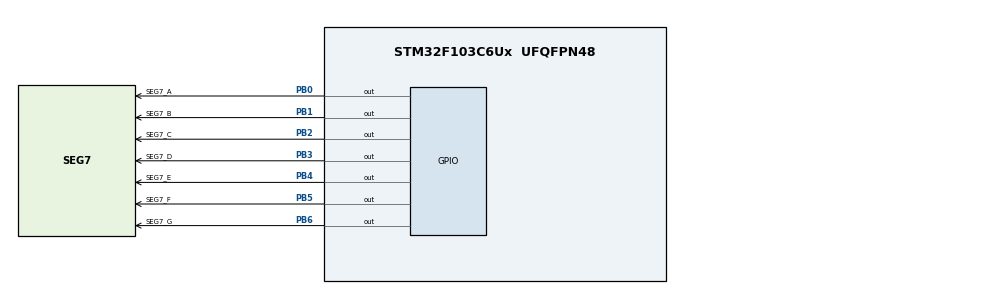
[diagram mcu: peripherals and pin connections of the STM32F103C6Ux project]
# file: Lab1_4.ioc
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Mcu.Family=STM32F1
Mcu.Name=STM32F103C6Ux
Mcu.Package=UFQFPN48
NVIC.PriorityGroup=NVIC_PRIORITYGROUP_4
PB0.GPIO_Label=SEG7_A
PB0.Signal=GPIO_Output
PB1.GPIO_Label=SEG7_B
PB1.Signal=GPIO_Output
PB2.GPIO_Label=SEG7_C
PB2.Signal=GPIO_Output
PB3.GPIO_Label=SEG7_D
PB3.Signal=GPIO_Output
PB4.GPIO_Label=SEG7_E
PB4.Signal=GPIO_Output
PB5.GPIO_Label=SEG7_F
PB5.Signal=GPIO_Output
PB6.GPIO_Label=SEG7_G
PB6.Signal=GPIO_Output
ProjectManager.HeapSize=0x200
ProjectManager.StackSize=0x400
ProjectManager.TargetToolchain=STM32CubeIDE
RCC.APB1Freq_Value=8000000
RCC.APB2Freq_Value=8000000
VP_SYS_VS_ND.Mode=No_Debug
board=custom

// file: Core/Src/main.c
/* USER CODE BEGIN Header */
/**
  ******************************************************************************
  * @file           : main.c
  * @brief          : Main program body
  ******************************************************************************
  * @attention
  *
  * <h2><center>&copy; Copyright (c) 2022 STMicroelectronics.
  * All rights reserved.</center></h2>
  *
  * This software component is licensed by ST under BSD 3-Clause license,
  * the "License"; You may not use this file except in compliance with the
  * License. You may obtain a copy of the License at:
  *                        opensource.org/licenses/BSD-3-Clause
  *
  ******************************************************************************
  */
/* USER CODE END Header */
#include "main.h"

void SystemClock_Config(void);
static void MX_GPIO_Init(void);

/* USER CODE BEGIN 0 */
int counter=0;
unsigned char segmentNumber[10]={
		0x40,
		0x79,
		0x24,
		0x30,
		0x19,
		0x12,
		0x02,
		0x78,
		0x00,
		0x10
};
void display7SEG(int counter){
	unsigned char num = segmentNumber[counter];
	HAL_GPIO_WritePin(SEG7_A_GPIO_Port, SEG7_A_Pin, ((num>>0)&0x01));
	HAL_GPIO_WritePin(SEG7_B_GPIO_Port, SEG7_B_Pin, ((num>>1)&0x01));
	HAL_GPIO_WritePin(SEG7_C_GPIO_Port, SEG7_C_Pin, ((num>>2)&0x01));
	HAL_GPIO_WritePin(SEG7_D_GPIO_Port, SEG7_D_Pin, ((num>>3)&0x01));
	HAL_GPIO_WritePin(SEG7_E_GPIO_Port, SEG7_E_Pin, ((num>>4)&0x01));
	HAL_GPIO_WritePin(SEG7_F_GPIO_Port, SEG7_F_Pin, ((num>>5)&0x01));
	HAL_GPIO_WritePin(SEG7_G_GPIO_Port, SEG7_G_Pin, ((num>>6)&0x01));
}
/* USER CODE END 0 */

int main(void)
{

  /* MCU Configuration--------------------------------------------------------*/

  /* Reset of all peripherals, Initializes the Flash interface and the Systick. */
  HAL_Init();

  /* Configure the system clock */
  SystemClock_Config();

  /* Initialize all configured peripherals */
  MX_GPIO_Init();

  /* Infinite loop */
  while (1)
  {

    /* USER CODE BEGIN 3 */
	  if( counter >=10) counter = 0;
	  display7SEG (counter++) ;
	  HAL_Delay (1000) ;
  }
  /* USER CODE END 3 */
}

void SystemClock_Config(void)
{
  RCC_OscInitTypeDef RCC_OscInitStruct = {0};
  RCC_ClkInitTypeDef RCC_ClkInitStruct = {0};

  /** Initializes the RCC Oscillators according to the specified parameters
  * in the RCC_OscInitTypeDef structure.
  */
  RCC_OscInitStruct.OscillatorType = RCC_OSCILLATORTYPE_HSI;
  RCC_OscInitStruct.HSIState = RCC_HSI_ON;
  RCC_OscInitStruct.HSICalibrationValue = RCC_HSICALIBRATION_DEFAULT;
  RCC_OscInitStruct.PLL.PLLState = RCC_PLL_NONE;
  if (HAL_RCC_OscConfig(&RCC_OscInitStruct) != HAL_OK)
  {
    Error_Handler();
  }
  /** Initializes the CPU, AHB and APB buses clocks
  */
  RCC_ClkInitStruct.ClockType = RCC_CLOCKTYPE_HCLK|RCC_CLOCKTYPE_SYSCLK
                              |RCC_CLOCKTYPE_PCLK1|RCC_CLOCKTYPE_PCLK2;
  RCC_ClkInitStruct.SYSCLKSource = RCC_SYSCLKSOURCE_HSI;
  RCC_ClkInitStruct.AHBCLKDivider = RCC_SYSCLK_DIV1;
  RCC_ClkInitStruct.APB1CLKDivider = RCC_HCLK_DIV1;
  RCC_ClkInitStruct.APB2CLKDivider = RCC_HCLK_DIV1;

  if (HAL_RCC_ClockConfig(&RCC_ClkInitStruct, FLASH_LATENCY_0) != HAL_OK)
  {
    Error_Handler();
  }
}

static void MX_GPIO_Init(void)
{
  GPIO_InitTypeDef GPIO_InitStruct = {0};

  /* GPIO Ports Clock Enable */
  __HAL_RCC_GPIOB_CLK_ENABLE();

  /*Configure GPIO pin Output Level */
  HAL_GPIO_WritePin(GPIOB, SEG7_A_Pin|SEG7_B_Pin|SEG7_C_Pin|SEG7_D_Pin
                          |SEG7_E_Pin|SEG7_F_Pin|SEG7_G_Pin, GPIO_PIN_RESET);

  /*Configure GPIO pins : SEG7_A_Pin SEG7_B_Pin SEG7_C_Pin SEG7_D_Pin
                           SEG7_E_Pin SEG7_F_Pin SEG7_G_Pin */
  GPIO_InitStruct.Pin = SEG7_A_Pin|SEG7_B_Pin|SEG7_C_Pin|SEG7_D_Pin
                          |SEG7_E_Pin|SEG7_F_Pin|SEG7_G_Pin;
  GPIO_InitStruct.Mode = GPIO_MODE_OUTPUT_PP;
  GPIO_InitStruct.Pull = GPIO_NOPULL;
  GPIO_InitStruct.Speed = GPIO_SPEED_FREQ_LOW;
  HAL_GPIO_Init(GPIOB, &GPIO_InitStruct);

}

void Error_Handler(void)
{
  __disable_irq();
  while (1)
  {
  }
}

/************************ (C) COPYRIGHT STMicroelectronics *****END OF FILE****/
